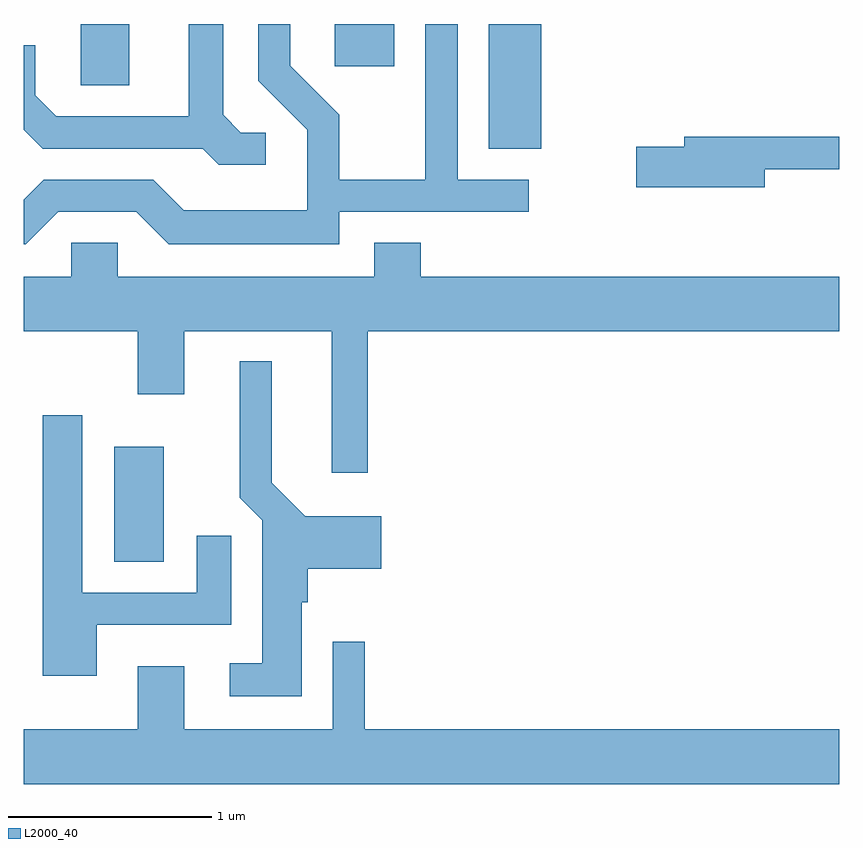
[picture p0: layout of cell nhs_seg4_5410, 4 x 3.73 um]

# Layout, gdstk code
import gdstk
lib = gdstk.Library(unit=1e-6, precision=1e-09)
def R(c, l, rs):  # rectangles x0, y0, x1, y1
    for r in rs: c.add(gdstk.rectangle(r[:2], r[2:], *l))
def P(c, l, *ps):  # polygons
    for p in ps: c.add(gdstk.Polygon(p, *l))
L2000_40 = (2000, 40)

nhs_seg4_5410 = lib.new_cell('nhs_seg4_5410')
R(nhs_seg4_5410, L2000_40, [(344.056,1331.346,344.299,1331.909), (345.891,1333.371,346.149,1333.982), (343.891,1333.681,344.129,1333.982), (345.136,1333.776,345.429,1333.982)])
P(nhs_seg4_5410, L2000_40, [(343.782,1333.061),(344.164,1333.061),(344.324,1332.901),(345.159,1332.901),(345.159,1333.061),(346.088,1333.061),(346.088,1333.219),(345.739,1333.219),(345.739,1333.982),(345.581,1333.982),(345.581,1333.219),(345.159,1333.219),(345.159,1333.537),(344.919,1333.777),(344.919,1333.982),(344.761,1333.982),(344.761,1333.704),(345.001,1333.464),(345.001,1333.069),(344.397,1333.069),(344.247,1333.219),(343.709,1333.219),(343.611,1333.121),(343.611,1332.901),(343.622,1332.901)],
  [(344.798,1333.449),(344.677,1333.449),(344.589,1333.537),(344.589,1333.982),(344.421,1333.982),(344.421,1333.529),(343.772,1333.529),(343.669,1333.632),(343.669,1333.878),(343.611,1333.878),(343.611,1333.464),(343.704,1333.371),(344.489,1333.371),(344.569,1333.291),(344.798,1333.291)],
  [(347.244,1333.271),(347.611,1333.271),(347.611,1333.429),(346.851,1333.429),(346.851,1333.379),(346.616,1333.379),(346.616,1333.181),(347.244,1333.181)],
  [(345.299,1332.476),(347.611,1332.476),(347.611,1332.744),(345.559,1332.744),(345.559,1332.909),(345.331,1332.909),(345.331,1332.744),(344.074,1332.744),(344.074,1332.909),(343.846,1332.909),(343.846,1332.744),(343.611,1332.744),(343.611,1332.476),(344.171,1332.476),(344.171,1332.166),(344.399,1332.166),(344.399,1332.476),(345.121,1332.476),(345.121,1331.781),(345.299,1331.781)],
  [(344.974,1331.146),(345.004,1331.146),(345.004,1331.311),(345.364,1331.311),(345.364,1331.569),(344.992,1331.569),(344.829,1331.732),(344.829,1332.328),(344.671,1332.328),(344.671,1331.659),(344.781,1331.549),(344.781,1330.849),(344.623,1330.849),(344.623,1330.686),(344.974,1330.686)],
  [(343.969,1331.036),(344.629,1331.036),(344.629,1331.473),(344.461,1331.473),(344.461,1331.194),(343.899,1331.194),(343.899,1332.064),(343.706,1332.064),(343.706,1330.786),(343.969,1330.786)],
  [(347.611,1330.524),(345.284,1330.524),(345.284,1330.953),(345.126,1330.953),(345.126,1330.524),(344.399,1330.524),(344.399,1330.834),(344.171,1330.834),(344.171,1330.524),(343.611,1330.524),(343.611,1330.256),(347.611,1330.256)])

lib.write_gds('nhs_seg4_5410.gds')
